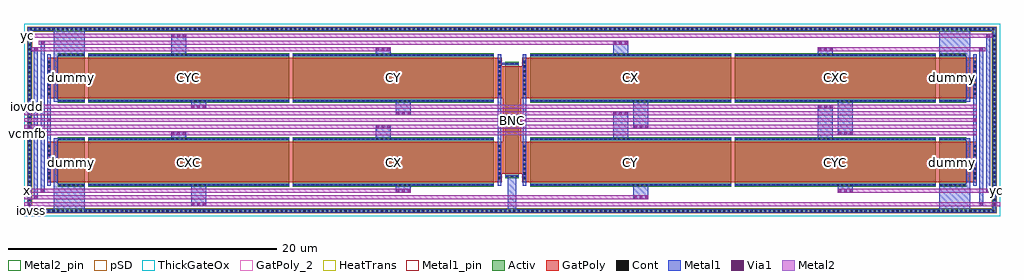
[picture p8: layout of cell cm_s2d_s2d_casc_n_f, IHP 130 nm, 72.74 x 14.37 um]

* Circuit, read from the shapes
.subckt cm_s2d_s2d_casc_n_f iovdd iovss vbnc vcmfb voutn voutp x xc y yc
XM1 iovss vbnc iovss iovss sg13_hv_nmos w=2u l=3u m=4
XM2 vcmfb vbnc xc iovss sg13_hv_nmos w=15u l=3u m=2
XM3 yc vbnc iovdd iovss sg13_hv_nmos w=15u l=3u m=2
XM4 voutp vbnc x iovss sg13_hv_nmos w=15u l=3u m=2
XM5 y vbnc voutn iovss sg13_hv_nmos w=15u l=3u m=2
XM6 vbnc vbnc iovss iovss sg13_hv_nmos w=1u l=8u
.ends

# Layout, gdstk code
from math import pi, radians
import gdstk
lib = gdstk.Library(unit=1e-6, precision=1e-09)
def R(c, l, rs):  # rectangles x0, y0, x1, y1
    for r in rs: c.add(gdstk.rectangle(r[:2], r[2:], *l))
def A(c, l, x, y, w, h, nx, ny, dx, dy):  # array of equal rectangles
    R(c, l, [(x+i*dx, y+j*dy, x+i*dx+w, y+j*dy+h) for i in range(nx) for j in range(ny)])
Activ = (1, 0)
GatPoly = (5, 0)
GatPoly_2 = (5, 2)
Cont = (6, 0)
Metal1 = (8, 0)
Metal1_pin = (8, 2)
Metal2 = (10, 0)
Metal2_pin = (10, 2)
pSD = (14, 0)
Via1 = (19, 0)
ThickGateOx = (44, 0)
HeatTrans = (51, 0)

cm_s2d_nmoshv_4 = lib.new_cell('cm_s2d_nmosHV_4')
R(cm_s2d_nmoshv_4, Activ, [(0,0,0.3,0.3), (0,0,8.68,1), (8.38,0,8.68,0.3)])
R(cm_s2d_nmoshv_4, GatPoly, [(0.34,-0.18,8.34,1.18)])
R(cm_s2d_nmoshv_4, GatPoly_2, [(0.34,-0.18,8.34,1.18)])
A(cm_s2d_nmoshv_4, Cont, 0.07, 0.07, 0.16, 0.16, 1, 3, 0, 0.35)
A(cm_s2d_nmoshv_4, Cont, 8.45, 0.07, 0.16, 0.16, 1, 3, 0, 0.35)
R(cm_s2d_nmoshv_4, Metal1, [(0.07,0,0.23,1), (8.45,0,8.61,1)])
R(cm_s2d_nmoshv_4, Metal1_pin, [(0.07,0,0.23,1), (8.45,0,8.61,1)])
R(cm_s2d_nmoshv_4, ThickGateOx, [(-0.27,-0.52,8.95,1.52)])
R(cm_s2d_nmoshv_4, HeatTrans, [(0.34,-0.18,8.34,1.18)])
cm_s2d_nmoshv_4.add(gdstk.Label('nmosHV', (4.34,0.5), layer=63, texttype=0))
cm_s2d_nmoshv_4.add(gdstk.Label('nmosHV', (4.34,0.5), layer=51, texttype=0))

cm_s2d_nmoshv_3 = lib.new_cell('cm_s2d_nmosHV_3')
R(cm_s2d_nmoshv_3, Activ, [(0,0,0.3,0.3), (0,0,3.68,15), (3.38,0,3.68,0.3)])
R(cm_s2d_nmoshv_3, GatPoly, [(0.34,-0.18,3.34,15.18)])
R(cm_s2d_nmoshv_3, GatPoly_2, [(0.34,-0.18,3.34,15.18)])
A(cm_s2d_nmoshv_3, Cont, 0.07, 0.07, 0.16, 0.16, 1, 3, 0, 0.34)
A(cm_s2d_nmoshv_3, Cont, 3.45, 0.07, 0.16, 0.16, 1, 3, 0, 0.34)
A(cm_s2d_nmoshv_3, Cont, 0.07, 1.095, 0.16, 0.16, 1, 3, 0, 0.34)
A(cm_s2d_nmoshv_3, Cont, 3.45, 1.095, 0.16, 0.16, 1, 3, 0, 0.34)
A(cm_s2d_nmoshv_3, Cont, 0.07, 2.12, 0.16, 0.16, 1, 3, 0, 0.34)
A(cm_s2d_nmoshv_3, Cont, 3.45, 2.12, 0.16, 0.16, 1, 3, 0, 0.34)
A(cm_s2d_nmoshv_3, Cont, 0.07, 3.83, 0.16, 0.16, 1, 3, 0, 0.34)
A(cm_s2d_nmoshv_3, Cont, 3.45, 3.83, 0.16, 0.16, 1, 3, 0, 0.34)
A(cm_s2d_nmoshv_3, Cont, 0.07, 4.855, 0.16, 0.16, 1, 3, 0, 0.34)
A(cm_s2d_nmoshv_3, Cont, 3.45, 4.855, 0.16, 0.16, 1, 3, 0, 0.34)
A(cm_s2d_nmoshv_3, Cont, 0.07, 6.565, 0.16, 0.16, 1, 3, 0, 0.34)
A(cm_s2d_nmoshv_3, Cont, 3.45, 6.565, 0.16, 0.16, 1, 3, 0, 0.34)
A(cm_s2d_nmoshv_3, Cont, 0.07, 7.59, 0.16, 0.16, 1, 3, 0, 0.34)
A(cm_s2d_nmoshv_3, Cont, 3.45, 7.59, 0.16, 0.16, 1, 3, 0, 0.34)
A(cm_s2d_nmoshv_3, Cont, 0.07, 9.3, 0.16, 0.16, 1, 3, 0, 0.34)
A(cm_s2d_nmoshv_3, Cont, 3.45, 9.3, 0.16, 0.16, 1, 3, 0, 0.34)
A(cm_s2d_nmoshv_3, Cont, 0.07, 10.325, 0.16, 0.16, 1, 3, 0, 0.34)
A(cm_s2d_nmoshv_3, Cont, 3.45, 10.325, 0.16, 0.16, 1, 3, 0, 0.34)
A(cm_s2d_nmoshv_3, Cont, 0.07, 12.035, 0.16, 0.16, 1, 3, 0, 0.34)
A(cm_s2d_nmoshv_3, Cont, 3.45, 12.035, 0.16, 0.16, 1, 3, 0, 0.34)
A(cm_s2d_nmoshv_3, Cont, 0.07, 13.06, 0.16, 0.16, 1, 3, 0, 0.34)
A(cm_s2d_nmoshv_3, Cont, 3.45, 13.06, 0.16, 0.16, 1, 3, 0, 0.34)
R(cm_s2d_nmoshv_3, Cont, [(0.07,3.145,0.23,3.305), (3.45,3.145,3.61,3.305), (0.07,3.485,0.23,3.645), (3.45,3.485,3.61,3.645), (0.07,5.88,0.23,6.04), (3.45,5.88,3.61,6.04), (0.07,6.22,0.23,6.38), (3.45,6.22,3.61,6.38), (0.07,8.615,0.23,8.775), (3.45,8.615,3.61,8.775), (0.07,8.955,0.23,9.115), (3.45,8.955,3.61,9.115), (0.07,11.35,0.23,11.51), (3.45,11.35,3.61,11.51), (0.07,11.69,0.23,11.85), (3.45,11.69,3.61,11.85), (0.07,14.085,0.23,14.245), (3.45,14.085,3.61,14.245), (0.07,14.425,0.23,14.585), (3.45,14.425,3.61,14.585), (0.07,14.77,0.23,14.93), (3.45,14.77,3.61,14.93)])
R(cm_s2d_nmoshv_3, Metal1, [(0.07,0,0.23,15), (3.45,0,3.61,15)])
R(cm_s2d_nmoshv_3, Metal1_pin, [(0.07,0,0.23,15), (3.45,0,3.61,15)])
R(cm_s2d_nmoshv_3, ThickGateOx, [(-0.27,-0.52,3.95,15.52)])
R(cm_s2d_nmoshv_3, HeatTrans, [(0.34,-0.18,3.34,15.18)])
cm_s2d_nmoshv_3.add(gdstk.Label('nmosHV', (1.84,7.5), layer=63, texttype=0))
cm_s2d_nmoshv_3.add(gdstk.Label('nmosHV', (1.84,7.5), layer=51, texttype=0))

cm_s2d_nmoshv_2 = lib.new_cell('cm_s2d_nmosHV_2')
R(cm_s2d_nmoshv_2, Activ, [(0,0,0.3,0.3), (0,0,3.68,2), (3.38,0,3.68,0.3)])
R(cm_s2d_nmoshv_2, GatPoly, [(0.34,-0.18,3.34,2.18)])
R(cm_s2d_nmoshv_2, GatPoly_2, [(0.34,-0.18,3.34,2.18)])
A(cm_s2d_nmoshv_2, Cont, 0.07, 0.07, 0.16, 0.16, 1, 6, 0, 0.34)
A(cm_s2d_nmoshv_2, Cont, 3.45, 0.07, 0.16, 0.16, 1, 6, 0, 0.34)
R(cm_s2d_nmoshv_2, Metal1, [(0.07,0,0.23,2), (3.45,0,3.61,2)])
R(cm_s2d_nmoshv_2, Metal1_pin, [(0.07,0,0.23,2), (3.45,0,3.61,2)])
R(cm_s2d_nmoshv_2, ThickGateOx, [(-0.27,-0.52,3.95,2.52)])
R(cm_s2d_nmoshv_2, HeatTrans, [(0.34,-0.18,3.34,2.18)])
cm_s2d_nmoshv_2.add(gdstk.Label('nmosHV', (1.84,1), layer=63, texttype=0))
cm_s2d_nmoshv_2.add(gdstk.Label('nmosHV', (1.84,1), layer=51, texttype=0))

cm_s2d_s2d_casc_n_f = lib.new_cell('cm_s2d_s2d_casc_n_f')
R(cm_s2d_s2d_casc_n_f, Activ, [(-2.25,-1.94,69.95,-1.64), (-2.25,-1.94,-1.95,11.89), (69.65,-1.94,69.95,11.89), (-2.25,11.59,69.95,11.89)])
R(cm_s2d_s2d_casc_n_f, GatPoly, [(-0.79,0.34,-0.1,3.34), (32.6,0.34,33.1,3.34), (34.6,0.34,35.1,3.34), (67.8,0.34,68.49,3.34), (33.1,0.975,33.25,3.34), (34.45,0.975,34.6,3.34), (-0.79,6.61,-0.1,9.61), (32.6,6.61,33.1,9.61), (33.1,6.61,33.25,8.975), (34.45,6.61,34.6,8.975), (34.6,6.61,35.1,9.61), (67.8,6.61,68.49,9.61)])
A(cm_s2d_s2d_casc_n_f, Cont, -2.1, -1.87, 0.16, 0.16, 212, 2, 0.34, 13.53)
A(cm_s2d_s2d_casc_n_f, Cont, -2.18, -1.395, 0.16, 0.16, 1, 38, 0, 0.34)
A(cm_s2d_s2d_casc_n_f, Cont, 69.72, -1.395, 0.16, 0.16, 1, 38, 0, 0.34)
A(cm_s2d_s2d_casc_n_f, Cont, -0.72, 0.57, 0.16, 0.16, 1, 8, 0, 0.34)
A(cm_s2d_s2d_casc_n_f, Cont, 32.845, 0.57, 0.16, 0.16, 1, 8, 0, 0.34)
A(cm_s2d_s2d_casc_n_f, Cont, 34.695, 0.57, 0.16, 0.16, 1, 8, 0, 0.34)
A(cm_s2d_s2d_casc_n_f, Cont, 68.26, 0.57, 0.16, 0.16, 1, 8, 0, 0.34)
A(cm_s2d_s2d_casc_n_f, Cont, -0.72, 6.84, 0.16, 0.16, 1, 8, 0, 0.34)
A(cm_s2d_s2d_casc_n_f, Cont, 32.845, 6.84, 0.16, 0.16, 1, 8, 0, 0.34)
A(cm_s2d_s2d_casc_n_f, Cont, 34.695, 6.84, 0.16, 0.16, 1, 8, 0, 0.34)
A(cm_s2d_s2d_casc_n_f, Cont, 68.26, 6.84, 0.16, 0.16, 1, 8, 0, 0.34)
R(cm_s2d_s2d_casc_n_f, Metal1, [(-2.23,-1.92,69.93,-1.66), (-2.23,-1.92,-1.97,11.87), (69.67,-1.92,69.93,11.87), (-0.29,-1.66,0,3.61), (0,-1.66,2,0.23), (33.55,-1.66,34.15,0.865), (65.7,-1.66,67.7,0.23), (67.7,-1.66,67.99,3.61), (9.945,-1.44,11.055,0.23), (68.69,-1.44,68.98,10.39), (-1.79,-0.94,-1.5,10.39), (42.895,-0.94,44.005,0.23), (-1.28,-0.44,-0.99,10.89), (25.195,-0.44,26.305,0.23), (58.145,-0.44,59.255,0.23), (69.2,-0.44,69.49,11.39), (-0.77,0.07,-0.51,9.88), (32.795,0.07,33.055,9.88), (34.645,0.07,34.905,9.88), (68.21,0.07,68.47,9.88), (8.445,3.45,9.555,4.12), (23.695,3.45,24.805,4.62), (41.395,3.45,42.505,5.62), (56.645,3.45,57.755,6.12), (58.145,3.83,59.255,6.5), (42.895,4.33,44.005,6.5), (25.195,5.33,26.305,6.5), (9.945,5.83,11.055,6.5), (-0.29,6.34,0,11.61), (67.7,6.34,67.99,11.61), (32.925,9.085,33.45,9.245), (0,9.72,2,11.61), (8.445,9.72,9.555,11.39), (23.695,9.72,24.805,10.39), (41.395,9.72,42.505,10.89), (56.645,9.72,57.755,10.39), (65.7,9.72,67.7,11.61), (-2.23,11.61,69.93,11.87)])
R(cm_s2d_s2d_casc_n_f, Metal1_pin, [(-2.23,-1.92,-1.73,-1.66)])
A(cm_s2d_s2d_casc_n_f, Metal2, -2.52, 3.83, 71.005, 0.29, 1, 5, 0, 0.5)
R(cm_s2d_s2d_casc_n_f, Metal2, [(-2.52,-1.44,9.945,-1.15), (9.945,-1.44,70.22,-1.15), (-2.52,-0.94,44.005,-0.65), (-2.52,-0.44,26.305,-0.15), (58.145,-0.44,70.22,-0.15), (-1.935,10.1,24.805,10.39), (56.645,10.1,69.125,10.39), (-1.425,10.6,42.505,10.89), (-2.52,11.1,8.445,11.39), (8.445,11.1,69.635,11.39)])
A(cm_s2d_s2d_casc_n_f, Metal2_pin, -2.52, -1.44, 0.5, 0.29, 1, 3, 0, 0.5)
A(cm_s2d_s2d_casc_n_f, Metal2_pin, -2.52, 3.83, 0.5, 0.29, 1, 5, 0, 0.5)
R(cm_s2d_s2d_casc_n_f, Metal2_pin, [(69.72,-1.44,70.22,-1.15), (69.72,-0.44,70.22,-0.15), (-2.52,11.1,-2.02,11.39)])
R(cm_s2d_s2d_casc_n_f, pSD, [(-2.28,-1.97,69.98,-1.61), (-2.28,-1.97,-1.92,11.92), (69.62,-1.97,69.98,11.92), (-2.28,11.56,69.98,11.92)])
A(cm_s2d_s2d_casc_n_f, Via1, 9.995, -1.39, 0.19, 0.19, 3, 2, 0.41, 7.27)
A(cm_s2d_s2d_casc_n_f, Via1, 42.945, -0.89, 0.19, 0.19, 3, 2, 0.41, 5.27)
A(cm_s2d_s2d_casc_n_f, Via1, 25.245, -0.39, 0.19, 0.19, 3, 2, 0.41, 5.77)
A(cm_s2d_s2d_casc_n_f, Via1, 58.195, -0.39, 0.19, 0.19, 3, 2, 0.41, 4.27)
A(cm_s2d_s2d_casc_n_f, Via1, 8.495, 3.88, 0.19, 0.19, 3, 2, 0.41, 7.27)
A(cm_s2d_s2d_casc_n_f, Via1, 23.745, 4.38, 0.19, 0.19, 3, 2, 0.41, 5.77)
A(cm_s2d_s2d_casc_n_f, Via1, 41.445, 5.38, 0.19, 0.19, 3, 2, 0.41, 5.27)
A(cm_s2d_s2d_casc_n_f, Via1, 56.695, 5.88, 0.19, 0.19, 3, 2, 0.41, 4.27)
R(cm_s2d_s2d_casc_n_f, Via1, [(68.74,-1.39,68.93,-1.2), (-1.74,-0.89,-1.55,-0.7), (-1.23,-0.39,-1.04,-0.2), (69.25,-0.39,69.44,-0.2), (-0.735,4.88,-0.545,5.07), (32.83,4.88,33.02,5.07), (34.68,4.88,34.87,5.07), (68.245,4.88,68.435,5.07), (-1.74,10.15,-1.55,10.34), (68.74,10.15,68.93,10.34), (-1.23,10.65,-1.04,10.84), (69.25,11.15,69.44,11.34)])
R(cm_s2d_s2d_casc_n_f, ThickGateOx, [(-2.52,-2.21,70.22,12.16)])
cm_s2d_s2d_casc_n_f.add(gdstk.Reference(cm_s2d_nmoshv_4, (33.35,9.315), rotation=3*pi/2))
cm_s2d_s2d_casc_n_f.add(gdstk.Reference(cm_s2d_nmoshv_3, (2.25,3.68), rotation=3*pi/2))
cm_s2d_s2d_casc_n_f.add(gdstk.Reference(cm_s2d_nmoshv_3, (17.5,3.68), rotation=3*pi/2))
cm_s2d_s2d_casc_n_f.add(gdstk.Reference(cm_s2d_nmoshv_3, (2.25,9.95), rotation=3*pi/2))
cm_s2d_s2d_casc_n_f.add(gdstk.Reference(cm_s2d_nmoshv_3, (17.5,9.95), rotation=3*pi/2))
cm_s2d_s2d_casc_n_f.add(gdstk.Reference(cm_s2d_nmoshv_3, (50.2,3.68), rotation=3*pi/2, x_reflection=True))
cm_s2d_s2d_casc_n_f.add(gdstk.Reference(cm_s2d_nmoshv_3, (65.45,3.68), rotation=3*pi/2, x_reflection=True))
cm_s2d_s2d_casc_n_f.add(gdstk.Reference(cm_s2d_nmoshv_3, (50.2,9.95), rotation=3*pi/2, x_reflection=True))
cm_s2d_s2d_casc_n_f.add(gdstk.Reference(cm_s2d_nmoshv_3, (65.45,9.95), rotation=3*pi/2, x_reflection=True))
cm_s2d_s2d_casc_n_f.add(gdstk.Reference(cm_s2d_nmoshv_2, (0,3.68), rotation=3*pi/2))
cm_s2d_s2d_casc_n_f.add(gdstk.Reference(cm_s2d_nmoshv_2, (0,9.95), rotation=3*pi/2))
cm_s2d_s2d_casc_n_f.add(gdstk.Reference(cm_s2d_nmoshv_2, (67.7,3.68), rotation=3*pi/2, x_reflection=True))
cm_s2d_s2d_casc_n_f.add(gdstk.Reference(cm_s2d_nmoshv_2, (67.7,9.95), rotation=3*pi/2, x_reflection=True))
cm_s2d_s2d_casc_n_f.add(gdstk.Label('dummy', (1,1.84), layer=63, texttype=0))
cm_s2d_s2d_casc_n_f.add(gdstk.Label('CXC', (9.75,1.84), layer=63, texttype=0))
cm_s2d_s2d_casc_n_f.add(gdstk.Label('CX', (25,1.84), layer=63, texttype=0))
cm_s2d_s2d_casc_n_f.add(gdstk.Label('CY', (42.7,1.84), layer=63, texttype=0))
cm_s2d_s2d_casc_n_f.add(gdstk.Label('CYC', (57.95,1.84), layer=63, texttype=0))
cm_s2d_s2d_casc_n_f.add(gdstk.Label('dummy', (66.7,1.84), layer=63, texttype=0))
cm_s2d_s2d_casc_n_f.add(gdstk.Label('dummy', (1,8.11), layer=63, texttype=0))
cm_s2d_s2d_casc_n_f.add(gdstk.Label('CYC', (9.75,8.11), layer=63, texttype=0))
cm_s2d_s2d_casc_n_f.add(gdstk.Label('CY', (25,8.11), layer=63, texttype=0))
cm_s2d_s2d_casc_n_f.add(gdstk.Label('CX', (42.7,8.11), layer=63, texttype=0))
cm_s2d_s2d_casc_n_f.add(gdstk.Label('CXC', (57.95,8.11), layer=63, texttype=0))
cm_s2d_s2d_casc_n_f.add(gdstk.Label('dummy', (66.7,8.11), layer=63, texttype=0))
cm_s2d_s2d_casc_n_f.add(gdstk.Label('BNC', (33.85,4.975), layer=63, texttype=0))
cm_s2d_s2d_casc_n_f.add(gdstk.Label('iovss', (-1.98,-1.79), layer=8, texttype=25))
cm_s2d_s2d_casc_n_f.add(gdstk.Label('iovdd', (-2.27,5.975), layer=10, texttype=25))
cm_s2d_s2d_casc_n_f.add(gdstk.Label('xc', (-2.27,-1.295), layer=10, texttype=25))
cm_s2d_s2d_casc_n_f.add(gdstk.Label('yc', (-2.27,11.245), layer=10, texttype=25))
cm_s2d_s2d_casc_n_f.add(gdstk.Label('x', (-2.27,-0.295), layer=10, texttype=25))
cm_s2d_s2d_casc_n_f.add(gdstk.Label('yc', (69.97,-0.295), layer=10, texttype=25))
cm_s2d_s2d_casc_n_f.add(gdstk.Label('y', (-2.27,-0.795), layer=10, texttype=25))
cm_s2d_s2d_casc_n_f.add(gdstk.Label('xc', (69.97,-1.295), layer=10, texttype=25))
cm_s2d_s2d_casc_n_f.add(gdstk.Label('vcmfb', (-2.27,3.975), layer=10, texttype=25))
cm_s2d_s2d_casc_n_f.add(gdstk.Label('voutp', (-2.27,4.475), layer=10, texttype=25))
cm_s2d_s2d_casc_n_f.add(gdstk.Label('vbnc', (-2.27,4.975), layer=10, texttype=25))
cm_s2d_s2d_casc_n_f.add(gdstk.Label('voutn', (-2.27,5.475), layer=10, texttype=25))

lib.write_gds('cm_s2d_s2d_casc_n_f.gds')
